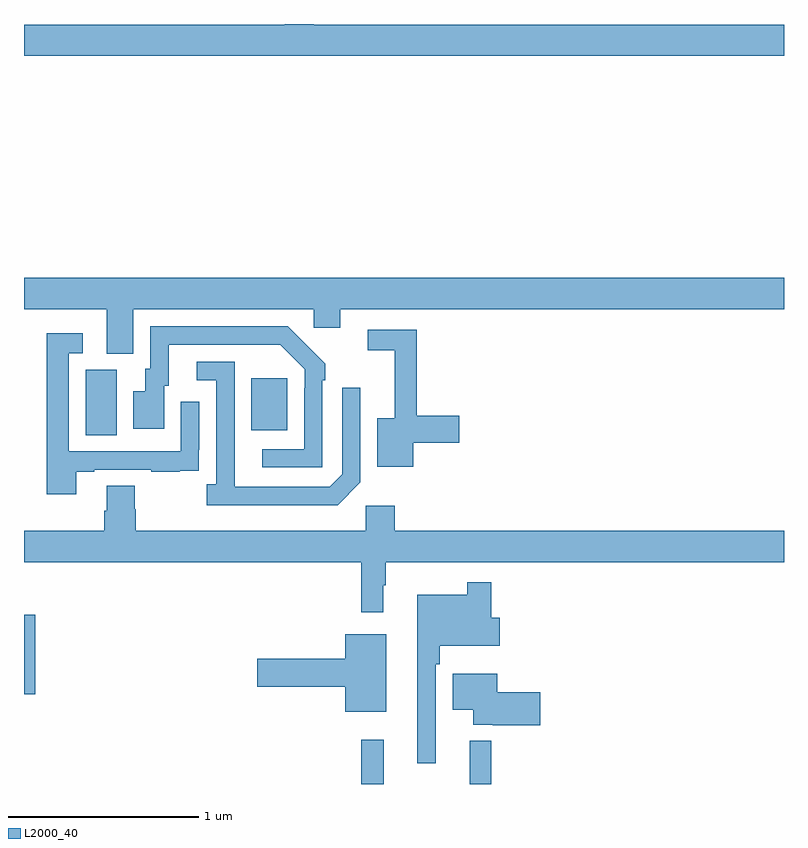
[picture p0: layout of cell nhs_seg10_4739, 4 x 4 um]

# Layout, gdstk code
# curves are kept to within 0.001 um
import gdstk
lib = gdstk.Library(unit=1e-6, precision=1e-09)
def R(c, l, rs):  # rectangles x0, y0, x1, y1
    for r in rs: c.add(gdstk.rectangle(r[:2], r[2:], *l))
def P(c, l, *ps):  # polygons
    for p in ps: c.add(gdstk.Polygon(p, *l))
L2000_40 = (2000, 40)

nhs_seg10_4739 = lib.new_cell('nhs_seg10_4739')
R(nhs_seg10_4739, L2000_40, [(384.775,1280.5,384.893,1280.734), (385.346,1280.5,385.458,1280.728), (383,1280.972,383.06,1281.391), (383.324,1282.336,383.488,1282.68), (384.197,1282.361,384.385,1282.636)])
P(nhs_seg10_4739, L2000_40, [(387,1284.496),(384.524,1284.496),(384.524,1284.5),(384.372,1284.5),(384.372,1284.496),(383,1284.496),(383,1284.332),(387,1284.332)],
  [(383.575,1283),(384.525,1283),(384.525,1282.902),(384.664,1282.902),(384.664,1283),(387,1283),(387,1283.164),(383,1283.164),(383,1283),(383.435,1283),(383.435,1282.765),(383.575,1282.765)],
  [(384.57,1282.625),(384.585,1282.625),(384.585,1282.713),(384.388,1282.908),(383.664,1282.908),(383.664,1282.686),(383.639,1282.686),(383.639,1282.567),(383.576,1282.567),(383.576,1282.371),(383.737,1282.371),(383.737,1282.596),(383.761,1282.596),(383.761,1282.812),(384.349,1282.812),(384.477,1282.683),(384.477,1282.583),(384.474,1282.583),(384.474,1282.263),(384.255,1282.263),(384.255,1282.167),(384.57,1282.167)],
  [(385.048,1282.297),(385.291,1282.297),(385.291,1282.439),(385.067,1282.439),(385.067,1282.89),(384.81,1282.89),(384.81,1282.782),(384.95,1282.782),(384.95,1282.426),(384.86,1282.426),(384.86,1282.169),(385.048,1282.169)],
  [(383.275,1282.143),(383.371,1282.143),(383.371,1282.155),(383.671,1282.155),(383.671,1282.143),(383.819,1282.143),(383.819,1282.149),(383.921,1282.149),(383.921,1282.258),(383.922,1282.258),(383.922,1282.513),(383.826,1282.513),(383.826,1282.251),(383.235,1282.251),(383.235,1282.767),(383.308,1282.767),(383.308,1282.873),(383.119,1282.873),(383.119,1282.026),(383.275,1282.026)],
  [(384.771,1282.089),(384.771,1282.585),(384.675,1282.585),(384.675,1282.131),(384.609,1282.065),(384.109,1282.065),(384.108,1282.722),(383.91,1282.722),(383.91,1282.626),(384.012,1282.626),(384.012,1282.078),(383.961,1282.078),(383.961,1281.968),(384.65,1281.968)],
  [(384.892,1281.545),(384.904,1281.545),(384.904,1281.668),(387,1281.668),(387,1281.832),(384.95,1281.832),(384.95,1281.964),(384.798,1281.964),(384.798,1281.832),(383.588,1281.832),(383.588,1281.945),(383.583,1281.945),(383.583,1282.07),(383.435,1282.07),(383.435,1281.938),(383.423,1281.938),(383.423,1281.832),(383,1281.832),(383,1281.668),(384.775,1281.668),(384.775,1281.405),(384.892,1281.405)],
  [(385.167,1281.131),(385.187,1281.131),(385.187,1281.227),(385.504,1281.227),(385.504,1281.375),(385.46,1281.375),(385.46,1281.562),(385.332,1281.562),(385.332,1281.496),(385.07,1281.496),(385.07,1280.61),(385.167,1280.61)],
  [(384.907,1281.289),(384.692,1281.289),(384.692,1281.158),(384.228,1281.158),(384.228,1281.011),(384.692,1281.011),(384.692,1280.879),(384.907,1280.879)],
  [(385.717,1280.984),(385.492,1280.984),(385.492,1281.079),(385.256,1281.079),(385.256,1280.891),(385.364,1280.891),(385.364,1280.813),(385.468,1280.813),(385.468,1280.808),(385.717,1280.808)])

lib.write_gds('nhs_seg10_4739.gds')
